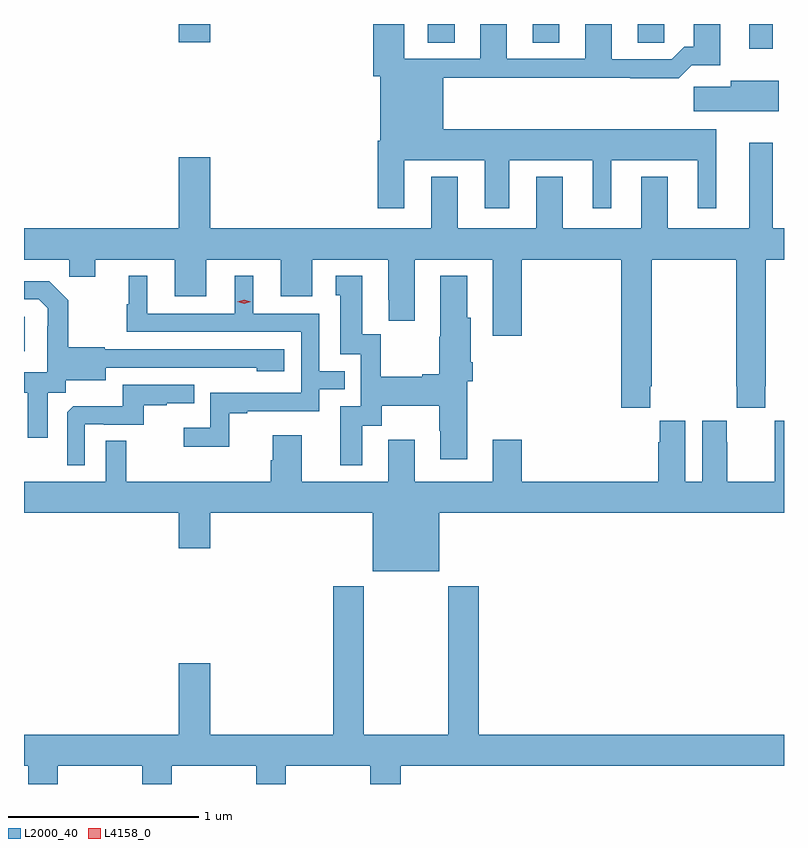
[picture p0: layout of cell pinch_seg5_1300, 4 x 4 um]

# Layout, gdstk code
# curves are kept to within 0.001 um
import gdstk
lib = gdstk.Library(unit=1e-6, precision=1e-09)
def R(c, l, rs):  # rectangles x0, y0, x1, y1
    for r in rs: c.add(gdstk.rectangle(r[:2], r[2:], *l))
def P(c, l, *ps):  # polygons
    for p in ps: c.add(gdstk.Polygon(p, *l))
L2000_40 = (2000, 40)
L4158_0 = (4158, 0)

pinch_seg5_1300 = lib.new_cell('pinch_seg5_1300')
R(pinch_seg5_1300, L2000_40, [(308.049,913.554,308.053,913.734), (311.867,915.147,311.989,915.276), (310.175,915.178,310.315,915.276), (310.727,915.178,310.867,915.276), (311.279,915.178,311.418,915.276), (308.864,915.18,309.028,915.276)])
P(pinch_seg5_1300, L2000_40, [(310.051,914.558),(310.475,914.558),(310.475,914.307),(310.603,914.307),(310.603,914.558),(311.042,914.558),(311.042,914.307),(311.14,914.307),(311.14,914.558),(311.594,914.558),(311.594,914.307),(311.692,914.307),(311.692,914.722),(310.255,914.722),(310.255,914.992),(311.239,914.992),(311.239,914.99),(311.495,914.99),(311.564,915.059),(311.713,915.059),(311.713,915.276),(311.573,915.276),(311.573,915.157),(311.524,915.157),(311.457,915.09),(311.143,915.09),(311.143,915.276),(311.003,915.276),(311.003,915.093),(310.591,915.093),(310.591,915.276),(310.451,915.276),(310.451,915.093),(310.051,915.093),(310.051,915.276),(309.887,915.276),(309.887,915),(309.923,915),(309.923,914.662),(309.911,914.662),(309.911,914.307),(310.051,914.307)],
  [(312.022,914.977),(311.768,914.977),(311.768,914.945),(311.574,914.945),(311.574,914.816),(312.022,914.816)],
  [(311.345,913.369),(311.352,913.369),(311.352,914.036),(311.797,914.036),(311.797,913.369),(311.799,913.369),(311.799,913.257),(311.949,913.257),(311.949,913.369),(311.952,913.369),(311.952,914.036),(312.049,914.036),(312.049,914.2),(311.989,914.2),(311.989,914.65),(311.867,914.65),(311.867,914.2),(311.437,914.2),(311.437,914.473),(311.297,914.473),(311.297,914.2),(310.885,914.2),(310.885,914.473),(310.745,914.473),(310.745,914.2),(310.333,914.2),(310.333,914.473),(310.193,914.473),(310.193,914.2),(309.028,914.2),(309.028,914.575),(308.864,914.575),(308.864,914.2),(308.049,914.2),(308.049,914.036),(308.287,914.036),(308.287,913.946),(308.425,913.946),(308.425,914.036),(308.843,914.036),(308.843,913.842),(309.007,913.842),(309.007,914.036),(309.401,914.036),(309.401,913.842),(309.565,913.842),(309.565,914.036),(309.965,914.036),(309.965,913.825),(309.968,913.825),(309.968,913.713),(310.105,913.713),(310.105,914.036),(310.517,914.036),(310.517,913.635),(310.67,913.635),(310.67,914.036),(311.192,914.036),(311.192,913.257),(311.345,913.257)],
  [(309.129,913.227),(309.223,913.227),(309.223,913.239),(309.603,913.239),(309.603,913.353),(309.737,913.353),(309.737,913.449),(309.603,913.449),(309.603,913.752),(309.256,913.752),(309.256,913.951),(309.158,913.951),(309.158,913.752),(308.698,913.752),(308.698,913.951),(308.6,913.951),(308.6,913.8),(308.589,913.8),(308.589,913.656),(309.507,913.656),(309.507,913.335),(309.03,913.335),(309.03,913.15),(308.889,913.15),(308.889,913.052),(309.129,913.052)],
  [(309.829,913.162),(309.931,913.162),(309.931,913.268),(310.234,913.268),(310.234,913.134),(310.241,913.134),(310.241,912.984),(310.381,912.984),(310.381,913.395),(310.412,913.395),(310.412,913.495),(310.399,913.495),(310.399,913.731),(310.381,913.731),(310.381,913.951),(310.241,913.951),(310.241,913.631),(310.234,913.631),(310.234,913.433),(310.145,913.433),(310.145,913.42),(309.927,913.42),(309.927,913.643),(309.829,913.643),(309.829,913.951),(309.689,913.951),(309.689,913.848),(309.713,913.848),(309.713,913.539),(309.822,913.539),(309.822,913.263),(309.713,913.263),(309.713,912.954),(309.829,912.954)],
  [(308.173,913.336),(308.268,913.336),(308.268,913.4),(308.479,913.4),(308.479,913.467),(309.273,913.466),(309.273,913.448),(309.418,913.448),(309.418,913.563),(308.475,913.563),(308.475,913.576),(308.283,913.576),(308.283,913.821),(308.183,913.921),(308.049,913.921),(308.049,913.827),(308.127,913.827),(308.174,913.78),(308.174,913.685),(308.172,913.685),(308.172,913.444),(308.049,913.444),(308.049,913.334),(308.069,913.334),(308.069,913.098),(308.173,913.098)],
  [(308.37,913.17),(308.47,913.17),(308.47,913.167),(308.678,913.167),(308.678,913.269),(308.801,913.269),(308.801,913.28),(308.945,913.28),(308.945,913.377),(308.568,913.377),(308.568,913.265),(308.309,913.265),(308.277,913.233),(308.277,912.953),(308.37,912.953)],
  [(310.234,912.704),(312.049,912.704),(312.049,913.189),(312,913.189),(312,913.076),(311.999,913.076),(311.999,912.868),(311.749,912.868),(311.749,913.076),(311.748,913.076),(311.748,913.189),(311.618,913.189),(311.618,912.868),(311.53,912.868),(311.53,913.189),(311.396,913.189),(311.396,913.076),(311.387,913.076),(311.387,912.868),(310.67,912.868),(310.67,913.087),(310.517,913.087),(310.517,912.868),(310.105,912.868),(310.105,913.087),(309.965,913.087),(309.965,912.868),(309.511,912.868),(309.511,913.111),(309.359,913.111),(309.359,912.981),(309.347,912.981),(309.347,912.868),(308.587,912.868),(308.587,913.082),(308.478,913.082),(308.478,912.868),(308.049,912.868),(308.049,912.704),(308.864,912.704),(308.864,912.516),(309.028,912.516),(309.028,912.704),(309.884,912.704),(309.884,912.395),(310.234,912.395)],
  [(308.049,911.372),(308.071,911.372),(308.071,911.276),(308.226,911.276),(308.226,911.372),(308.671,911.372),(308.671,911.276),(308.826,911.276),(308.826,911.372),(309.271,911.372),(309.271,911.276),(309.426,911.276),(309.426,911.372),(309.871,911.372),(309.871,911.276),(310.031,911.276),(310.031,911.372),(312.049,911.372),(312.049,911.536),(310.442,911.536),(310.442,912.316),(310.282,912.316),(310.282,911.536),(309.837,911.536),(309.837,912.316),(309.677,912.316),(309.677,911.536),(309.028,911.536),(309.028,911.911),(308.864,911.911),(308.864,911.536),(308.049,911.536)])
P(pinch_seg5_1300, L4158_0, [(309.207,913.804),(309.171,913.814),(309.171,913.814),(309.171,913.814),(309.207,913.824),(309.243,913.814),(309.243,913.814),(309.243,913.814)])

lib.write_gds('pinch_seg5_1300.gds')
